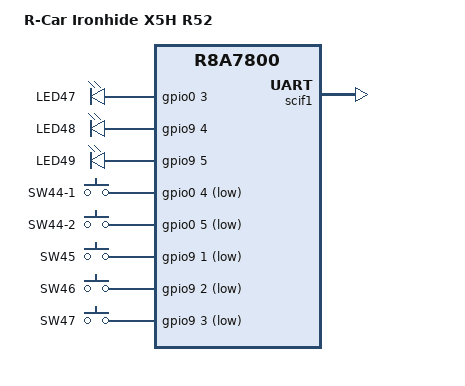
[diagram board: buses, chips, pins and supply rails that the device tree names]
/*
 * Copyright (c) 2026 Renesas Electronics Corporation
 *
 * SPDX-License-Identifier: Apache-2.0
 */

/dts-v1/;
#include <arm/renesas/rcar/gen5/r8a7800.dtsi>
#include <zephyr/dt-bindings/gpio/gpio.h>
#include <zephyr/dt-bindings/input/input-event-codes.h>
#include "rcar_ironhide_x5h_r8a7800_r52-pinctrl.dtsi"

/ {
	model = "R-Car Ironhide X5H R52";
	compatible = "renesas,ironhide-x5h-cr52";

	chosen {
		zephyr,sram = &sram0;
		zephyr,console = &scif1;
		zephyr,shell-uart = &scif1;
	};

	leds {
		compatible = "gpio-leds";

		led1: led1 {
			gpios = <&gpio0 3 GPIO_ACTIVE_HIGH>;
			label = "LED47";
		};

		led2: led2 {
			gpios = <&gpio9 4 GPIO_ACTIVE_HIGH>;
			label = "LED48";
		};

		led3: led3 {
			gpios = <&gpio9 5 GPIO_ACTIVE_HIGH>;
			label = "LED49";
		};
	};

	gpio_keys {
		compatible = "gpio-keys";

		slide_sw1: sw0 {
			label = "SW44-1";
			gpios = <&gpio0 4 GPIO_ACTIVE_LOW>;
			zephyr,code = <INPUT_KEY_0>;
		};

		slide_sw2: sw1 {
			label = "SW44-2";
			gpios = <&gpio0 5 GPIO_ACTIVE_LOW>;
			zephyr,code = <INPUT_KEY_1>;
		};

		button1: sw2 {
			label = "SW45";
			gpios = <&gpio9 1 GPIO_ACTIVE_LOW>;
			zephyr,code = <INPUT_KEY_2>;
		};

		button2: sw3 {
			label = "SW46";
			gpios = <&gpio9 2 GPIO_ACTIVE_LOW>;
			zephyr,code = <INPUT_KEY_3>;
		};

		button3: sw4 {
			label = "SW47";
			gpios = <&gpio9 3 GPIO_ACTIVE_LOW>;
			zephyr,code = <INPUT_KEY_4>;
		};
	};

	aliases {
		led0 = &led1;
		led1 = &led2;
		sw0 = &button1;
	};
};

&gpio0 {
	status = "okay";
};

&gpio9 {
	status = "okay";
};

&scif1 {
	pinctrl-0 = <&scif1_data_tx_default &scif1_data_rx_default>;
	pinctrl-names = "default";
	status = "okay";
};
